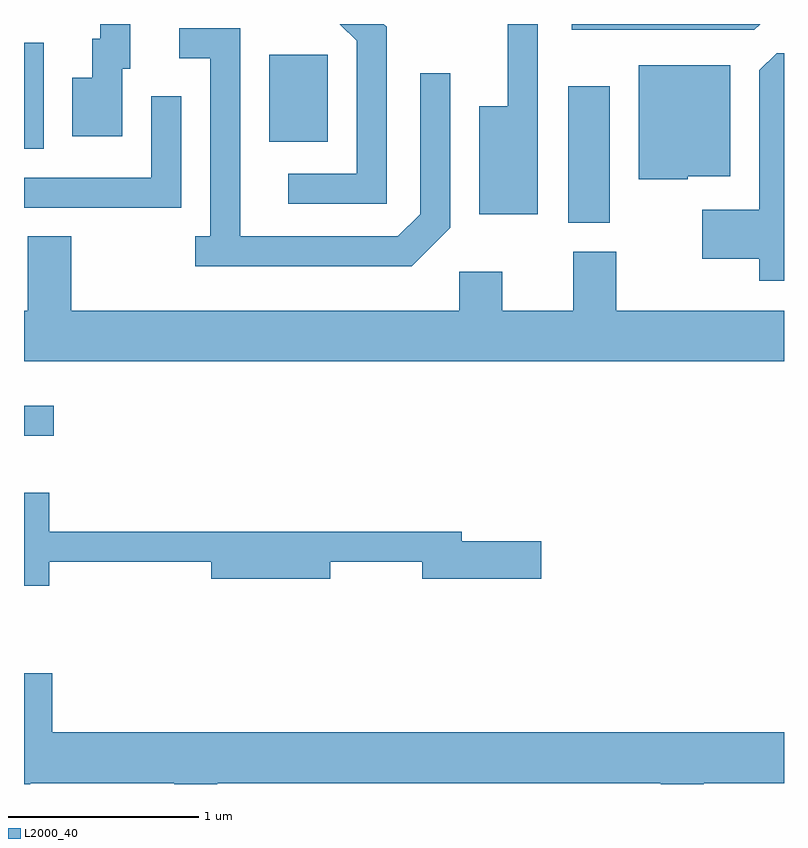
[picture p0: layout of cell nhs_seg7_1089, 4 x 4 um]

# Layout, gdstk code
import gdstk
lib = gdstk.Library(unit=1e-6, precision=1e-09)
def R(c, l, rs):  # rectangles x0, y0, x1, y1
    for r in rs: c.add(gdstk.rectangle(r[:2], r[2:], *l))
def P(c, l, *ps):  # polygons
    for p in ps: c.add(gdstk.Polygon(p, *l))
L2000_40 = (2000, 40)

nhs_seg7_1089 = lib.new_cell('nhs_seg7_1089')
R(nhs_seg7_1089, L2000_40, [(217.611,1776.086,217.768,1776.244), (220.476,1777.206,220.694,1777.924), (217.611,1777.596,217.714,1778.154), (218.901,1777.631,219.209,1778.089)])
P(nhs_seg7_1089, L2000_40, [(221.485,1778.252),(220.493,1778.252),(220.493,1778.221),(221.454,1778.221)],
  [(219.519,1778.237),(219.504,1778.252),(219.273,1778.252),(219.361,1778.164),(219.361,1777.464),(219.003,1777.464),(219.003,1777.306),(219.519,1777.306)],
  [(220.314,1778.252),(220.156,1778.252),(220.156,1777.819),(220.006,1777.819),(220.006,1777.251),(220.314,1777.251)],
  [(218.129,1778.016),(218.169,1778.016),(218.169,1778.252),(218.011,1778.252),(218.011,1778.174),(217.971,1778.174),(217.971,1777.969),(217.866,1777.969),(217.866,1777.661),(218.129,1777.661)],
  [(219.854,1777.179),(219.854,1777.993),(219.696,1777.993),(219.696,1777.252),(219.579,1777.134),(218.749,1777.134),(218.749,1778.229),(218.428,1778.229),(218.428,1778.071),(218.591,1778.071),(218.591,1777.134),(218.513,1777.134),(218.513,1776.976),(219.652,1776.976)],
  [(221.611,1778.099),(221.572,1778.099),(221.481,1778.009),(221.481,1777.274),(221.181,1777.274),(221.181,1777.016),(221.481,1777.016),(221.481,1776.901),(221.611,1776.901)],
  [(221.105,1777.451),(221.329,1777.451),(221.329,1778.034),(220.846,1778.034),(220.846,1777.436),(221.105,1777.436)],
  [(218.439,1777.873),(218.281,1777.873),(218.281,1777.444),(217.611,1777.444),(217.611,1777.286),(218.439,1777.286)],
  [(221.611,1776.744),(220.729,1776.744),(220.729,1777.054),(220.501,1777.054),(220.501,1776.744),(220.129,1776.744),(220.129,1776.949),(219.901,1776.949),(219.901,1776.744),(217.859,1776.744),(217.859,1777.134),(217.631,1777.134),(217.631,1776.744),(217.611,1776.744),(217.611,1776.476),(221.611,1776.476)],
  [(217.744,1775.421),(218.596,1775.421),(218.596,1775.331),(219.224,1775.331),(219.224,1775.421),(219.706,1775.421),(219.706,1775.331),(220.334,1775.331),(220.334,1775.529),(219.914,1775.529),(219.914,1775.579),(217.744,1775.579),(217.744,1775.784),(217.611,1775.784),(217.611,1775.296),(217.744,1775.296)],
  [(217.644,1774.256),(218.401,1774.256),(218.401,1774.252),(218.629,1774.252),(218.629,1774.256),(220.961,1774.256),(220.961,1774.252),(221.189,1774.252),(221.189,1774.256),(221.611,1774.256),(221.611,1774.524),(217.759,1774.524),(217.759,1774.834),(217.611,1774.834),(217.611,1774.252),(217.644,1774.252)])

lib.write_gds('nhs_seg7_1089.gds')
